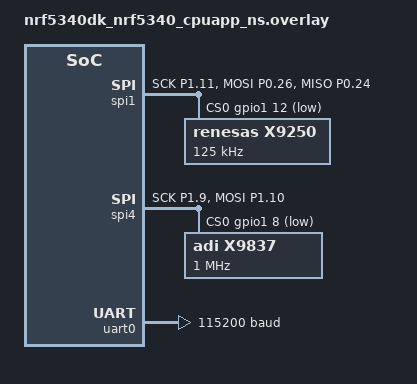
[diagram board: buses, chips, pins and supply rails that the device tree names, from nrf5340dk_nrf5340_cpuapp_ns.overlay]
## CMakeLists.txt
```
# SPDX-License-Identifier: Apache-2.0

cmake_minimum_required(VERSION 3.20.0)
find_package(Zephyr REQUIRED HINTS $ENV{ZEPHYR_BASE})
project(firmware)

# Add all the source files here
target_sources(app PRIVATE 
    src/main.c
    src/adc.c
    src/gpio.c
    src/spi.c
    src/uart.c
    src/signal_chain_amp.c
    src/dds.c
    src/bluetooth.c
    )
```

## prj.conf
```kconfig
# UART1 is used for TF-M logging should be disabled

# UART1 share the same base address as SPIM1, and it's 
# enabled by default in 2.6.0. UART1 is used as the logging 
# backend for TF-M and should be disabled for SPIM1 to work.
CONFIG_TFM_SECURE_UART=n
CONFIG_TFM_LOG_LEVEL_SILENCE=y

# Enable Kconfigs for GPIO, ADC, and SPI.
CONFIG_GPIO=y
CONFIG_ADC=y
CONFIG_SPI=y

# Additional configs
CONFIG_LOG=y

CONFIG_CBPRINTF_FP_SUPPORT=y
CONFIG_RESET_ON_FATAL_ERROR=n

# Enable the serial driver in asynchronous mode
CONFIG_SERIAL=y
CONFIG_UART_ASYNC_API=y

# P0.00 issue: https://devzone.nordicsemi.com/f/nordic-q-a/108953/use-xl1-and-xl2-as-gpio-in-nrf5340
#CONFIG_SOC_ENABLE_LFXO=n

# https://devzone.nordicsemi.com/f/nordic-q-a/101960/enabling-pins-p0-0-p0-1-p0-2-p0-3-and-p0-19-as-gpio-nrf5340
#CONFIG_CLOCK_CONTROL_NRF_K32SRC_RC=y
#CONFIG_CLOCK_CONTROL_NRF_K32SRC_XTAL=n

CONFIG_NFCT_PINS_AS_GPIOS=y

# Enable BLE
CONFIG_BT=y
CONFIG_BT_PERIPHERAL=y
CONFIG_BT_DEVICE_NAME="MY BLE Device"
CONFIG_BT_DEVICE_APPEARANCE=0
CONFIG_FLASH=y
```

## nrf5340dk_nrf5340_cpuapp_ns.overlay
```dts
/* STEP 2.1 - Add the SPI peripheral to spi1 */
&i2c0 {	status = "disabled";};
&spi0 {	status = "disabled";};
&i2c1 {	status = "disabled";};
	
&spi1 {
    compatible = "nordic,nrf-spim";
	status = "okay";
	pinctrl-0 = <&spi1_default>;
	pinctrl-1 = <&spi1_sleep>;
	pinctrl-names = "default", "sleep";
	cs-gpios = <&gpio1 12 GPIO_ACTIVE_LOW>;
	x9250: x9250@0 {
		compatible = "renesas,x9250";
		reg = <0>;
		spi-max-frequency = <125000>;
	};
};

/* STEP 2.2 - Change the pin configuration */
&pinctrl {
	spi1_default: spi1_default {
		group1 {
				psels = <NRF_PSEL(SPIM_SCK, 1, 11)>,
						<NRF_PSEL(SPIM_MOSI, 0, 26)>,
						<NRF_PSEL(SPIM_MISO, 0, 24)>;
		};
	};

	spi1_sleep: spi1_sleep {
		group1 {
				psels = <NRF_PSEL(SPIM_SCK, 1, 11)>,
				<NRF_PSEL(SPIM_MOSI, 0, 26)>,
				<NRF_PSEL(SPIM_MISO, 0, 24)>;
				low-power-enable;
		};
	};
};




&spi4 {
    compatible = "nordic,nrf-spim";
    status = "okay";
    pinctrl-0 = <&spi4_default>;
    pinctrl-1 = <&spi4_sleep>;
    pinctrl-names = "default", "sleep";
    cs-gpios = <&gpio1 8 GPIO_ACTIVE_LOW>;
 
    x9837: x9837@0 {
        compatible = "adi,x9837";
        reg = <0>;
        spi-max-frequency = <1000000  >; // 1 MHz
    };
};


// Change pin configuration, reroute SCLK, MOSI, MISO to certain pins
&pinctrl {
    spi4_default: spi4_default {
        group1 {
            psels = <NRF_PSEL(SPIM_SCK, 1, 9)>,                  
                    <NRF_PSEL(SPIM_MOSI, 1, 10)>;
                    // <NRF_PSEL(SPIM_MISO, 0, 26)>;
        };
    };
    spi4_sleep: spi4_sleep {
        group1 {
            psels = <NRF_PSEL(SPIM_SCK, 1, 9)>,
                    <NRF_PSEL(SPIM_MOSI, 1, 10)>;
                    // <NRF_PSEL(SPIM_MISO, 0, 26)>;
            low-power-enable;
        };
    };
};


&uart0 {
    current-speed = <115200>;
};
```

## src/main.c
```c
/*
 * NAME: Dimitri Avila
 * EMAIL: davila@hmc.edu
 * DATE: February 25th, 2025
 * PURPOSE: This file This file contains the main function for the EPG project, serving as 
 * 		    the central entry point for the firmware. It orchestrates all sensor 
 * 		    interactions and coordinates the operation of various components. 
 * 		    The goal is to integrate all essential functionalities (ADC, SPI 
 * 		    communication, and GPIO control) into a single firmware package that 
 * 		    can be flashed onto the nRF5340-DK board.
 */

#include <stdio.h>
#include <zephyr/kernel.h>
#include <zephyr/drivers/gpio.h>
#include <zephyr/drivers/adc.h>
#include <zephyr/drivers/uart.h>
#include <zephyr/logging/log.h>
LOG_MODULE_REGISTER(main, LOG_LEVEL_INF);


#include "../include/adc.h"
#include "../include/gpio.h"
#include "../include/spi.h"
#include "../include/uart.h"
#include "../include/dds.h"
#include "../include/bluetooth.h"

#define SLEEP_TIME_MS       50
#define SAMPLE_PERIOD_MS    10  // Should be 17ms for 60Hz sampling rate
#define STACKSIZE           1024
#define ADC_THREAD_PRIORITY 7
#define UART_THREAD_PRIORITY 7
#define RECEIVE_TIMEOUT     100


#define UART_DEVICE_NODE DT_NODELABEL(uart0)
const struct device *uart_dev = DEVICE_DT_GET(UART_DEVICE_NODE);

// Define thread stacks
K_THREAD_STACK_DEFINE(adc_stack, STACKSIZE);
K_THREAD_STACK_DEFINE(uart_stack, STACKSIZE);

// Define thread control blocks
struct k_thread adc_thread_data;
struct k_thread uart_thread_data;

// Buffer for UART reception
static char command_buffer[32];
static int cmd_index = 0;
static volatile bool start_received = false;
static volatile bool on_recieved = false;

// UART callback function
static void uart_cb(const struct device *dev, struct uart_event *evt, void *user_data) {
    switch (evt->type) {
    case UART_RX_RDY:
        char received_char = evt->data.rx.buf[evt->data.rx.offset];

        // Store only valid characters
        if ((received_char >= '0' && received_char <= '9') || received_char == ':' || received_char == '-' ||
            (received_char >= 'A' && received_char <= 'Z') || received_char == '\r' || received_char == '.') {

            command_buffer[cmd_index++] = received_char;

            // If newline (ENTER key) is received, check the command
            if (received_char == '\r') {
                command_buffer[cmd_index - 1] = '\0';  // Null-terminate the string

                if (strcmp(command_buffer, "START") == 0) {
                    LOG_INF("Received START command.\n");
                    start_received = true;
                } else if (strcmp(command_buffer, "ON") == 0) {
                    LOG_INF("Received ON command.\n");
                    on_recieved = true;
                } else {
                    LOG_DBG("Invalid command: %s\n", command_buffer);
                }

                // Reset buffer for next input
                cmd_index = 0;
            }
        } else {
            cmd_index = 0;  // Reset if invalid character received
        }
        break;

    case UART_RX_DISABLED:
        uart_rx_enable(dev, command_buffer, sizeof(command_buffer), RECEIVE_TIMEOUT);
        break;

    default:
        break;
    }
}


// Function to wait for "START" command
void wait_for_start_command(void) {
    LOG_INF("Waiting for START command...\n");

    // Start receiving UART data
    uart_rx_enable(uart_dev, command_buffer, sizeof(command_buffer), RECEIVE_TIMEOUT);

    // Wait until "START" is received
    while (!start_received) {
        start_received = ble_start_received();
        k_msleep(10); // Check every 10 ms
    }
}

// Function to wait for "ON" command
void wait_for_on_command(void) {
    LOG_INF("Waiting for ON command...\n");

    // Start receiving UART data
    uart_rx_enable(uart_dev, command_buffer, sizeof(command_buffer), RECEIVE_TIMEOUT);

    // Wait until "ON" is received
    while (!on_recieved) {
        on_recieved = ble_on_received();
        k_msleep(10); // Check every 10 ms
    }
}

// Function to initialize the system with default settings
void config_default_settings() {
    LOG_INF("Default");
    set_dds_offset(-0.341);      // Set DDS offset for zero-centered AC
    set_dds_amplification(-1); // Set DDS amplification to -1x
    start_dds(1000);           // Initialize the DDS (1kHz sine wave)
    set_signal_chain_amplification(2.0); // Minimum amplification
    set_signal_chain_offset(0.6);        // Default offset for AC verification
}

static char msg_adc[32];

// ADC thread function
void adc_thread(char *msg) {
    // initialize_dds();
    // adc_init();
    while (1) {
        int adc_value = adc_read_value();
        int timestamp = k_uptime_get();

        char msg[32];
        snprintf(msg, sizeof(msg), "%u,%d\r\n", timestamp, adc_value);

        for (int i = 0; msg[i] != '\0'; i++) {
        //    uart_poll_out(uart_dev, msg[i]);
            msg_adc[i] = msg[i];
        }

        receive_adc(msg_adc);
      

        // // Print ADC value every second (every 60 samples)
        // if (sample_count % interval == 0) {
        //    LOG_INF("Timestamp: %u ms, ADC Value: %d", timestamp, adc_value);
        // }

        k_msleep(SAMPLE_PERIOD_MS);
    }
}

// UART thread function
void uart_thread(void) {
    // k_msleep(4000);
    // spi_init();
    // gpio_init();

    while (1) {
        uart_main();
        k_msleep(SLEEP_TIME_MS);
    }
}

// Main function
int main(void) {
    // Verify that the UART device is ready
      if (!device_is_ready(uart_dev)) {
        LOG_ERR("UART device not ready.\n");
        return 1;
    }

    // Set up UART callback
    uart_callback_set(uart_dev, uart_cb, NULL);

    start_ble();

    // Wait for "ON" command before turning on the system
    wait_for_on_command();

    // Initialize
    adc_init();
    gpio_init();
    spi_init();
    k_msleep(1000); // Small delay for stability
    config_default_settings();
   
    
    // Wait for the START command before proceeding (start data collection)
    wait_for_start_command();

    // Add command to stop ADC thread and one to reset

    // Start the system
    LOG_INF("Starting data collection!\n");

    // Create ADC thread
    k_thread_create(&adc_thread_data, adc_stack, K_THREAD_STACK_SIZEOF(adc_stack),
                    adc_thread, NULL, NULL, NULL,
                    ADC_THREAD_PRIORITY, 0, K_NO_WAIT);

    // Create UART thread
    k_thread_create(&uart_thread_data, uart_stack, K_THREAD_STACK_SIZEOF(uart_stack),
                    uart_thread, NULL, NULL, NULL,
                    UART_THREAD_PRIORITY, 0, K_NO_WAIT);

    while (1) {
        k_msleep(1000);
    }
}
```

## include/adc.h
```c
/*
 * NAME: Dimitri Avila
 * EMAIL: davila@hmc.edu
 * DATE: January 22nd, 2025
 * PURPOSE: Configures and manages ADC functionality for the nRF5340DK.  
 * 
 */

#ifndef ADC_H
#define ADC_H

#include <zephyr/drivers/adc.h>

// ADC configuration macros
#define ADC_RESOLUTION    12    // 12-bit resolution (0-4095 range)
#define ADC_CHANNEL       0     // Channel 0 (may vary depending on the sensor or pin)
#define ADC_PORT          SAADC_CH_PSELN_PSELN_AnalogInput0 // AIN0
#define ADC_REFERENCE     ADC_REF_INTERNAL // Reference voltage (0.6V)
#define ADC_GAIN          ADC_GAIN_1_5  // Gain of 1.5

// Initialize ADC
void adc_init(void);

// Start an ADC read and process the value
int adc_read_value(void);

// Declare a buffer for storing the ADC readings
extern int16_t data_buffer[1];

#endif // ADC_H
```

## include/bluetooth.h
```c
/*
 * NAME: Julia Hansen
 * EMAIL: juhansen@g.hmc.edu
 * DATE: 03/02/25
 * PURPOSE: Configures setup for bluetooth low energy for the nrf5340 dk
*/

#ifndef BLUETOOTH_H
#define BLUETOOTH_H 

#include <stdio.h>
#include <stdint.h> 

// UUID of Custom Service
#define BT_UUID_MY_CUSTOM_SERV_VAL BT_UUID_128_ENCODE(0x445817d2, 0x9e86, 4216, 8054, 0x703dc002ef41)
#define BT_UUID_MY_CUSTOM_SERVICE BT_UUID_DECLARE_128(BT_UUID_MY_CUSTOM_SERV_VAL)

// UUID of ADC Characteristic
#define BT_UUID_MY_ADC_CHRC_VAL BT_UUID_128_ENCODE(0x445817d2, 0x9e86, 4216, 8054, 0x703dc002ef42)
#define BT_UUID_MY_ADC_CHRC BT_UUID_DECLARE_128(BT_UUID_MY_ADC_CHRC_VAL)

// UUID of PY_READ Characteristic
#define BT_UUID_PY_READ_CHRC_VAL BT_UUID_128_ENCODE(0x445817d2, 0x9e86, 4216, 8054, 0x703dc002ef43)
#define BT_UUID_PY_READ_CHRC BT_UUID_DECLARE_128(BT_UUID_PY_READ_CHRC_VAL)


/** 
 * @brief Function to read data from ADC and pass it through to BLE
 * @param conn Bluetooth connection
 * @param attr GATT attribute referring to the read characteristic 
 * @param buf Buffer storing the data being read from the attribute.
 * 			  The client can access the data by reading from this buffer.
 * @param len The length of the buffer
 * @param offset Offset value specifying where to start reading from the buffer if the attribute data is too large
 * @retval The number of bytes read from the buffer 
*/
ssize_t my_read_adc_function(struct bt_conn *conn,
				const struct bt_gatt_attr *attr, void *buf,
				uint16_t len, uint16_t offset);

/** 
 * @brief Function to write data from the UI into a buffer
 * @param conn Bluetooth connection
 * @param attr GATT attribute referring to the write characteristic 
 * @param buf Buffer storing the data being written from the attribute.
 * 			  The client can write the data to this buffer.
 * @param len The length of the buffer
 * @param offset Offset value specifying where to write to the buffer if the attribute data is too large
 * @param flags Additional write flags 
 * @retval The length of the buffer 
*/
ssize_t write_custom_value(struct bt_conn *conn, 
				const struct bt_gatt_attr *attr, const void *buf, 
				uint16_t len, uint16_t offset, uint8_t flags);

/**
 * @brief Debug function to ensure that Python and Nordic can notify each other
 * @param attr GATT attribute referring to the notify characteristic
 * @param value Value representing the notification status between Python and Nordic
 */
static void adc_ccc_cfg_changed(const struct bt_gatt_attr *attr, uint16_t value);

/**
 * @brief Callback function for when BLE is ready
 * @param err Error thrown if BLE is not ready
*/

void bt_ready(int err);

/**
 * @brief Initializing BT and calling bt_ready when BT is 
 * initialized and ready for connection
*/
int init_ble(void);

/**
 *@brief Receives ADC data from ADC thread
 *@param msg_adc Buffer contatining the timestamp, voltage values 
 */
void receive_adc(char *msg_adc);

/**
 * @brief Keeps track of the start variable for the
 * start_received function in main.c
 * @return Boolean value of start
 */
bool ble_start_received(void);

/**
 * @brief Keeps track of the on variable for the
 * on_received function in main.c
 * @return Boolean value of on
 */
bool ble_on_received(void);

/**
 * @brief Starts Bluetooth and sets up advertisement 
 */
int start_ble(void);


#endif //BLUETOOTH_H
```

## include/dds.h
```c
/*
 * NAME: Julia Hansen
 * EMAIL: juhansen@g.hmc.edu
 * DATE: 03/04/25
 * PURPOSE: Configures setup for DDS for the nrf5340 dk
*/

#ifndef DDS_H
#define DDS_H


#include "spi.h"

#define MIN_DDS_AMPLIFICATION -5 // Calculated via G = -(Rh/10kOhm) where Rh = 50kOhm.
#define MAX_DDS_AMPLIFICATION 0 // Calculated via G = -(Rh/10kOhm) where Rh = 50kOhm.

/**
 * @brief Writes a 16-bit value to a DDS register.
 * 
 * Sends a command or data to the DDS (Direct Digital Synthesis) module via SPI.
 * 
 * @param value The 16-bit register value to be written.
 * 
 * @retval int Returns 0 on success, or a negative error code on failure.
 */
int dds_write_reg(uint16_t value);

/**
 * @brief Starts the DDS signal generation.
 * 
 * Configures and starts generating a waveform using the DDS module.
 * 
 * @retval int Returns 0 on success, or a negative error code on failure.
 */
int start_dds(uint16_t frequency);

/**
 * @brief Function to calculate frequency values to pass in to dds_write_reg
 * @param freq Frequency value, ie. 1000 Hz
 * @param result pointer to array where FREQLSB and FREQMSB will be written to 
 */
void frequency(int freq, uint16_t* result);

/**
 * @brief Function to convert binary string to hex
 * @param binaryString pointer to char array containing bits 
 */
uint16_t binaryToHex(const char* binaryString);

/**
 * @brief Converts frequency value in decimal to binary
 * @param value Frequency value in decimal 
 * @param binaryString pointer to a character array to write bits to 
 */
void convertToBinary(uint16_t value, char* binaryString);

/**
 * @brief Turns off DDS, sending a DC signal
 * @retval 1 upon sucess and 0 if not sucessful
 */
int dds_sleep(void);

/**
 * @brief Writes data to the DDS
 * @param inputFreq Frequency value to send to DDS
 */
void changeDDSVal(uint16_t inputFreq);


/**
 * @brief Sets the gain of the signal chain amplification.
 * 
 * Adjusts the gain of the signal chain amplification by configuring each chip
 * to achieve the desired amplification factor.
 *
 * @param desired_amplification The target gain for the signal chain, specified as a double.
 *                              Must be within the range [MIN_DDS_AMPLIFICATION, MAX_DDS_AMPLIFICATION].
 * 
 * @retval void This function does not return a value.
 */
void set_dds_amplification(double desired_amplification);

/**
 * @brief Sets the DC offset of the DDS output signal.
 * 
 * Adjusts the signal offset to shift the waveform's baseline voltage.
 * 
 * @param desired_offset The target offset voltage in volts, within the valid range.
 * 
 * @retval void This function does not return a value.
 */
void set_dds_offset(double desired_offset);


#endif // DDS_H
```

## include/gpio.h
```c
/*
 * NAME: Dimitri Avila
 * EMAIL: davila@hmc.edu
 * DATE: January 22nd, 2025
 * PURPOSE: Configures GPIO pins and provides functions for PGA control. 
 */

#ifndef GPIO_H
#define GPIO_H

#include <zephyr/drivers/gpio.h>    // Zephyr's GPIO API
#include <zephyr/kernel.h>          // Include for k_sleep()
#include <hal/nrf_gpio.h>           // Nordic's low-level GPIO functions

// Define GPIO Pins
#define GPIO_PIN_08 NRF_GPIO_PIN_MAP(1, 15)  // PGA 1's G2 pin
#define GPIO_PIN_07 NRF_GPIO_PIN_MAP(1, 14)  // PGA 1's G1 pin
#define GPIO_PIN_06 NRF_GPIO_PIN_MAP(1, 13)  // PGA 1's G0 pin

#define GPIO_PIN_11 NRF_GPIO_PIN_MAP(1, 3)  // PGA 2's G2 pin
#define GPIO_PIN_10 NRF_GPIO_PIN_MAP(1, 2) // PGA 2's G1 pin
#define GPIO_PIN_09 NRF_GPIO_PIN_MAP(0, 27) // PGA 2's G0 pin

// MUX pins 
#define EN_PIN NRF_GPIO_PIN_MAP(1, 4)      // Mux enable pin
#define MUXA_PIN NRF_GPIO_PIN_MAP(1, 5)    // MUXA pin
#define MUXB_PIN NRF_GPIO_PIN_MAP(1, 6)     // MUXB pin
#define MUXC_PIN NRF_GPIO_PIN_MAP(1, 7)     // MUXC pin


#define GPIO_PIN_15 NRF_GPIO_PIN_MAP(0, 6) // P_EN pin
#define GPIO_PIN_14 NRF_GPIO_PIN_MAP(0, 5) // N_EN pin

#define GPIO_P1_00 NRF_GPIO_PIN_MAP(0, 13) // WP SPI pin
#define GPIO_P1_04 NRF_GPIO_PIN_MAP(0, 29) // HOLD SPI pin





// Function declarations
void gpio_init(void);  // Initialize GPIO pins
int configure_pga(int pga_number, int pga_setting); // Configure the PGA with the given gain setting
void set_mux(uint8_t mux_setting); // Set the MUX to the specified setting
void power_up(void); // Power up the positive and negative power supplies
void power_down(void); // Power down the positive and negative power supplies

#endif // GPIO_H
```

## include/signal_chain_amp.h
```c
/*
 * NAME: Dimitri Avila
 * EMAIL: davila@hmc.edu
 * DATE: February 22nd, 2025
 * PURPOSE: This file contains the functions for setting the gain of the
 *          op-amp (variable amp) and setting the gain of the PGAs.
 */

#ifndef SIGNAL_CHAIN_AMP_H
#define SIGNAL_CHAIN_AMP_H

#include <zephyr/drivers/spi.h>       // Zephyr's SPI API
#include <zephyr/drivers/gpio.h>      // Zephyr's GPIO API
#include <zephyr/logging/log.h>       // Zephyr's logging API

#define MAX_AMPLIFICATION 7000 // Maximum amplification factor for the signal chain
#define MIN_AMPLIFICATION 2   // Minimum amplification factor for the signal chain (since 2x minimum headstage for stability)


/**
 * @brief Sets the gain of the signal chain amplification.
 * 
 * Adjusts the gain of the signal chain amplification by configuring each chip
 * to achieve the desired amplification factor.
 *
 * @param desired_amplification The target gain for the signal chain, specified as a double.
 *                              Must be within the range [MIN_AMPLIFICATION, MAX_AMPLIFICATION].
 * 
 * @retval void This function does not return a value.
 */
void set_signal_chain_amplification(double desired_amplification);


/**
 * @brief Sets the offset of the signal chain signal.
 * 
 * Adjusts the offset of the signal chain to the specified value. This is done
 * by adjusting digipot channel 2's wiper connected to the U6B OFFSET_AMP in the signal chain.
 *
 * @param desired_offset The target offset for the signal chain signal, specified as a double.
 * 
 * @retval void This function does not return a value.
 */
void set_signal_chain_offset(double desired_offset);


#endif // SIGNAL_CHAIN_AMP_H
```

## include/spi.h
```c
/*
 * NAME: Dimitri Avila
 * EMAIL: davila@hmc.edu
 * DATE: January 31st, 2025
 * PURPOSE: Configures SPI and CS GPIO, handles SPI communication,  
 *          and provides functions for digipot voltage control.  
 */

#ifndef SPI_H
#define SPI_H

#include <zephyr/drivers/spi.h>       // Zephyr's SPI API
#include <zephyr/drivers/gpio.h>      // Zephyr's GPIO API
#include <zephyr/logging/log.h>       // Zephyr's logging API

// SPI CS GPIO pin configuration
#define GPIO_0_CS 25  // Pin number for CS GPIO line (can be changed as needed)
extern const struct gpio_dt_spec cs_gpio;  // Define the CS GPIO spec

#define DIGIPOT_MAX_STEPS 256         // Assuming 8-bit resolution (256 steps)

// SPI configuration structure
extern const struct spi_config spi_cfg;

// Function declarations
int spi_init(void);  // SPI initialization
int spi_write_custom(uint8_t *tx_data, size_t data_len);  // SPI write
int digipot_voltage_set(uint8_t digipot_number, double desired_output_voltage);  // Set digipot voltage
int digipot_wiper_set(uint8_t digipot_channel, uint8_t wiper_position);  // Set digipot wiper position
int set_opamp_gain (double desired_opamp_gain);  // Set opamp gain (digipot channel 1)

#endif // SPI_H
```

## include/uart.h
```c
/*
 * NAME: Dimitri Avila
 * EMAIL: davila@hmc.edu
 * DATE: February 5th, 2025
 * PURPOSE: Configures UART for communication with the EPG device. 
 */

 #ifndef UART_H
 #define UART_H
 
 #include <zephyr/drivers/uart.h>    // Zephyr's UART API
 
 int uart_main(void);               // Main function for UART configuration
 
 // UART device name
 
 #endif
```

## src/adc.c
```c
/*
 * NAME: Dimitri Avila
 * EMAIL: davila@hmc.edu
 * DATE: January 22nd, 2025
 * PURPOSE: This file enables ADC reading from the AIN0 pin on the
 *			nRF5340dk board. 
 */

#include <stdio.h>
#include <zephyr/kernel.h>
#include <zephyr/drivers/gpio.h>
#include <zephyr/drivers/adc.h>
#include "../include/adc.h"  // Include the ADC header file

//#define SLEEP_TIME_MS   1000 // 1 second delay between ADC reads. 

/* The devicetree node identifier for the "adc" label defined within the device tree */
#define ADC_NODE DT_NODELABEL(adc)

static const struct device *adc_device = DEVICE_DT_GET(ADC_NODE);

struct adc_channel_cfg channel0_cfg = {
    .gain = ADC_GAIN,
    .reference = ADC_REFERENCE,
    .acquisition_time = ADC_ACQ_TIME_DEFAULT,
    .channel_id = ADC_CHANNEL,
#ifdef CONFIG_ADC_NRFX_SAADC
    .input_positive = ADC_PORT
#endif
};

int16_t data_buffer[1];

struct adc_sequence sequence = {
    .channels = BIT(ADC_CHANNEL),
    .buffer = data_buffer,
    .buffer_size = sizeof(data_buffer),
    .resolution = ADC_RESOLUTION
};

// ADC initialization function
void adc_init(void)
{
    int err;

    if (!device_is_ready(adc_device)) {
        printk("ADC device not ready\n");
        return;
    }
    
    err = adc_channel_setup(adc_device, &channel0_cfg);
    if (err != 0) {
        printk("ADC channel setup failed with error %d.\n", err);
    }
}

// ADC read function (returns ADC value in millivolts)
int adc_read_value(void)
{
    int err;
    int32_t mv_value = 0;

    err = adc_read(adc_device, &sequence);
    if (err != 0) {
        printk("ADC reading failed with error %d.\n", err);
        return err;
    }

    mv_value = data_buffer[0];
    int32_t adc_vref = adc_ref_internal(adc_device);
    adc_raw_to_millivolts(adc_vref, ADC_GAIN, ADC_RESOLUTION, &mv_value);
    
	// Print ADC Voltage
    //printk("ADC Voltage: %d mV\n", mv_value);
    return mv_value;
}
```

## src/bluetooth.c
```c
/*
 * NAME: Julia Hansen
 * EMAIL: juhansen@g.hmc.edu
 * DATE: 03/04/25
 * PURPOSE: This file allows Bluetooth to be run on the nrf5340 dk
*/

#include <zephyr/bluetooth/bluetooth.h>
#include <zephyr/bluetooth/conn.h>
#include <zephyr/bluetooth/uuid.h>
#include <zephyr/bluetooth/gatt.h>
#include <zephyr/kernel.h>
#include <zephyr/drivers/adc.h>
#include <zephyr/logging/log.h>
#include <string.h>
#include <stdlib.h> 
#include <math.h>

#include "../include/bluetooth.h"
#include "../include/dds.h"
#include "../include/gpio.h"

#define RECEIVE_BUFF_SIZE 20
#define BT_LE_ADV_CONN_CUSTOM BT_LE_ADV_PARAM(BT_LE_ADV_OPT_CONNECTABLE, 0x0020, 0x0020, NULL )

LOG_MODULE_REGISTER(ble_test); 

volatile bool ble_ready =false; // Flag indicating status of BLE
static char msg[32];

// Define the receive buffer
static uint8_t write_buffer[RECEIVE_BUFF_SIZE] = {0};

// Workqueue Things
static int digipot_channel = 0;
static int digipot_setting = 0;

static int pga_number = 0;
static int pga_setting = 0;

static volatile bool start_received = false;
static volatile bool on_received = false;

/*
 It is possible to adjust the connection settings on the BLE by editing 
 the BT_GAP_INIT_CONN_INT_MIN and BT_GAP_INIT_CONN_INT_MAX params in the
 gap.h file in the conn.h file. Note that the units are in 1.25ms so the
 actual value will be N*1.25ms.  
 You can also adjust the data length which is the number of bytes sent in 
 one packet by adjusting BT_GAP_ADV_MAX_ADV_DATA_LEN in gap.h. 
*/

// Advertisement data 
static const struct bt_data ad[] = {
	BT_DATA_BYTES(BT_DATA_FLAGS, (BT_LE_AD_GENERAL | BT_LE_AD_NO_BREDR)), // Using BLE
	BT_DATA_BYTES(BT_DATA_UUID128_ALL, BT_UUID_MY_CUSTOM_SERV_VAL), //Custom service 
};


// Write callback function
// Return value in buffer and decode it 
ssize_t write_custom_value(struct bt_conn *conn, 
				const struct bt_gatt_attr *attr, const void *buf, 
				uint16_t len, uint16_t offset, uint8_t flags) { 
					memcpy(write_buffer, buf, len); 
					printk("Received data from Python: %s\n", write_buffer); 
					write_buffer[len] = '\0';  
					// FREQUENCY SETTING
					if (write_buffer[0] == 'S' && write_buffer[1] == 'D' && write_buffer[2] == 'D' && write_buffer[3] == 'S' && write_buffer[4] == ':') {
						uint16_t val = atoi(&write_buffer[5]);  
						//printk("Received value: %f\n", val);  
						changeDDSVal(val);
						return len;
					// DDS GAIN SETTING
					} else if (write_buffer[0] == 'D' && write_buffer[1] == 'D' && write_buffer[2] == 'S' && write_buffer[3] == 'A' && write_buffer[4] == ':') {
						double amplification = atof(&write_buffer[5]);  // Convert string to double
						printk("amp: %.6f\n", amplification);
						if (amplification >= MIN_DDS_AMPLIFICATION && amplification <= MAX_DDS_AMPLIFICATION) {
							printk("Setting DDS amplification to %.2fx\n", amplification);
							set_dds_amplification(amplification);
						} else {
							printk("Invalid DDS amplification command!\n");
						}
						return len;
					// DDS OFFSET SETTING
					} else if (write_buffer[0] == 'D' && write_buffer[1] == 'D' && write_buffer[2] == 'S' && write_buffer[3] == 'O' && write_buffer[4] == ':'){
						double offset = atof(&write_buffer[5]);
						printk("offset: %.6f\n", offset);

						if (offset >= -3.3 && offset <= 3.3) {
							printk("Setting DDS offset to %.2fV\n", offset);
							set_dds_offset(offset);
						} else {
							printk("Invalid DDS offset command!\n");
						}
						return len;
					// PGA SETTING
					} else if (write_buffer[0] == 'P' && write_buffer[2] == ':') {  
						uint16_t number = write_buffer[1] - '0'; // Convert char to int
						uint16_t setting = atoi(&write_buffer[3]);  // Convert string to int

						if (number >= 1 && number <= 2 && setting >= 0 && setting <= 7) {
							pga_number = number;
							pga_setting = setting;

							printk("Setting PGA %d to value %d\n", pga_number, pga_setting);
							configure_pga(pga_number, pga_setting);
						} else {
							printk("Invalid pga command!\n");
						}
						return len;
					// DIGIPOT SETTING
					} else if(write_buffer[0] == 'D' && write_buffer[2] == ':') {
						int channel = write_buffer[1] - '0'; // Convert char to int
						int value = atoi(&write_buffer[3]);  // Convert string to int
				
						if (channel >= 0 && channel <= 3 && value >= 0 && value <= 255) {
							digipot_channel = channel;
							digipot_setting = value;
				
							printk("Setting Digipot %d to value %d\n", digipot_channel, digipot_setting);
							digipot_wiper_set(digipot_channel, digipot_setting);
						} else {
							printk("Invalid digipot command!\n");
						}
						return len;
					// MUX Setting
					} else if (write_buffer[0] == 'M' && write_buffer[1] == ':' && write_buffer[2] >= '0' && write_buffer[2] <= '7') {
						int setting = write_buffer[2] - '0'; // Convert char to int
				
						if (setting >= 0 && setting <= 7) {
							printk("Setting Mux to setting %d\n", setting);
							set_mux(setting);
						} else {
							printk("Invalid mux command!\n");
						}
						return len;
					// SIGNAL CHAIN OFFSET Setting
					} else if (write_buffer[0] == 'S' && write_buffer[1] == 'C' && write_buffer[2] == 'O' && write_buffer[3] == ':') {
						double offset = atof(&write_buffer[4]);  // Convert string to double
				
						if (offset >= -3.3 && offset <= 3.3) {
							printk("Setting signal chain offset to %.2fV\n", offset);
							set_signal_chain_offset(offset);
						} else {
							printk("Invalid signal chain offset command!\n");
						}
						return len;
					// SIGNAL CHAIN AMPLIFICATION Setting
					} else if (write_buffer[0] == 'S' && write_buffer[1] == 'C' && write_buffer[2] == 'A' && write_buffer[3] == ':') {
						double gain = atof(&write_buffer[4]);  // Convert string to double
				
						if (gain >= 1.0 && gain <= 7000.0) {
							printk("Setting signal chain amplification to %.2fx\n", gain);
							set_signal_chain_amplification(gain);
						} else {
							printk("Invalid signal chain amplification command!\n");
						}
						return len;
					// IDDS Setting
					} else if (write_buffer[0] == 'I' && write_buffer[1] == 'D' && write_buffer[2] == 'D' && write_buffer[3] == 'S') {
						printk("Starting DDS output\n");
						start_dds(1000);  // Start DDS with 1kHz sine wave
						return len;
					// DDSOFF Setting
					} else if (write_buffer[0] == 'D' && write_buffer[1] == 'D' && write_buffer[2] == 'S' && write_buffer[3] == 'O' && write_buffer[4] == 'F' && write_buffer[5] == 'F') {
						LOG_INF("Stopping DDS output\n");
						dds_sleep();  // Stop DDS output
						return len;
					// ON Setting
					} else if (write_buffer[0] == 'O' && write_buffer[1] == 'N') {
						on_received = true;
						LOG_INF("Powering up the system...");
						power_up();
						LOG_INF("Power up complete!");
						return len;
					// START Setting
					} else if (write_buffer[0] == 'S' && write_buffer[1] == 'T' && write_buffer[2] == 'A' && write_buffer[3] == 'R' && write_buffer[4] == 'T'){
						start_received = true;
						//printk("start:", start_received);
						return len;
					// OFF Setting
					} else if (write_buffer[0] == 'O' && write_buffer[1] == 'F' && write_buffer[2] == 'F') {
						LOG_INF("Powering down the system...\n");
						power_down();
						return len;
					}
				}

// Define Custom Service
BT_GATT_SERVICE_DEFINE(custom_srv,
		BT_GATT_PRIMARY_SERVICE(BT_UUID_MY_CUSTOM_SERVICE),
		// Notify Python whenever new adc data is available to send with notification param
		BT_GATT_CHARACTERISTIC(BT_UUID_MY_ADC_CHRC, BT_GATT_CHRC_NOTIFY, BT_GATT_PERM_NONE, NULL , NULL, NULL),
		BT_GATT_CCC(adc_ccc_cfg_changed, BT_GATT_PERM_READ | BT_GATT_PERM_WRITE), // responsible for sending notifications, contains the value
		// Setting write characteristic to write data from client to the characteristic
		BT_GATT_CHARACTERISTIC(BT_UUID_PY_READ_CHRC, BT_GATT_CHRC_WRITE, BT_GATT_PERM_WRITE, NULL, write_custom_value, write_buffer),
);

static bool notify_enabled = false;

// Debug function to ensure we can notify Python
static void adc_ccc_cfg_changed(const struct bt_gatt_attr *attr, uint16_t value)
{
    notify_enabled = (value == BT_GATT_CCC_NOTIFY);
    printk("Notify enabled: %s\n", notify_enabled ? "true" : "false");
}

// Callback function for when BT is ready
void bt_ready(int err){
	if (err) {
		LOG_ERR("bt enable return %d", err);
	}
	LOG_INF("bt_ready!");
	ble_ready=true;
}

// Initializing BT and calling bt_ready when BT is 
// initialized and ready for connection
int init_ble(void) {
	LOG_INF("Init BLE");
	int err;
	err = bt_enable(bt_ready);
	if (err) {
		LOG_ERR("bt_enable failed (err %d)", err);
		return err; 
	}

	return 0;
}

// Receive ADC message from ADC thread and notify Python
void receive_adc(char *msg_adc){
	for (int i = 0; msg_adc[i] != '\0'; i++) {
		msg_adc[i] = msg_adc[i];
	}
	if (notify_enabled) {
		int ret = bt_gatt_notify(NULL, &custom_srv.attrs[1], msg_adc, strlen(msg_adc));
		if (ret < 0) {
			LOG_ERR("Notify failed: %d\n", ret);
		}
	}
}

// Keep track of start variable
bool ble_start_received(void){
	return start_received;
}

// Keep track of on variable
bool ble_on_received(void) {
	return on_received;
}

// Start up BLE
int start_ble(void) {
	init_ble();
	while(!ble_ready){
		LOG_INF("BLE stack not ready yet");
		k_msleep(100);
	}
	LOG_INF("BLE stack ready!");

	int err;
	// Start advertising 
	err = bt_le_adv_start(BT_LE_ADV_CONN_CUSTOM, ad, ARRAY_SIZE(ad), NULL, 0); // Only need one advertisement package
	if (err) {
		printk("Advertising failed to start (err %d)\n", err);
		return 0;
	}

	return 0;

}
```

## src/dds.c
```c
/*
 * NAME: Julia Hansen
 * EMAIL: juhansen@g.hmc.edu
 * DATE: 03/04/25
 * PURPOSE: This file allows the DDS to be initialized and set to different
 *          output frequencies. 
*/

// Our headerfile
#include "../include/dds.h"


#include <zephyr/kernel.h>
#include <zephyr/logging/log.h>


// Include header file for SPI API, GPIO and device tree
#include <zephyr/drivers/spi.h>
#include <zephyr/device.h>
#include <zephyr/devicetree.h>
#include <zephyr/drivers/gpio.h>


#include <stdio.h>
#include <stdlib.h>
#include <math.h>


// For defining GPIO pins
#include <hal/nrf_gpio.h>


// Define GPIO Pin for FSYNC
#define FSYNC   NRF_GPIO_PIN_MAP(1, 8)


LOG_MODULE_REGISTER(DDS, LOG_LEVEL_INF);


uint16_t CTRL = 0x2000; //          0010 0000 0000 0000
uint16_t FREQ1_CTRL_EN = 0x2800;//  0010 0100 0000 0000
uint16_t FREQ0_LSB = 0x60C5;  //    0110 0000 1100 0101
uint16_t FREQ0_MSB = 0x4000;  //    0100 0000 0000 0000
uint16_t PHASE0 = 0xC000;     //    0110 0000 0000 0000


// Get device structure for DDS node
#define SPIOP   SPI_WORD_SET(8) | SPI_TRANSFER_MSB | SPI_MODE_CPOL // SPI word size is 8 bits, MSB should be transferred first, and clock has polarity of 1
struct spi_dt_spec spispec = SPI_DT_SPEC_GET(DT_NODELABEL(x9837), SPIOP, 0);

// Function to write data to register
int dds_write_reg(uint16_t value)
{
    int err;

    /* Declare a tx buffer having 16 bit data */
    // Split 16-bit value into two 8-bit parts
    uint8_t tx_buf[2];
    tx_buf[0] = (value >> 8) & 0xFF; // MSB
    tx_buf[1] = value & 0xFF;        // LSB
    //uint16_t tx_buf[] = {reg, value};
    struct spi_buf      tx_spi_buf      = {.buf = tx_buf, .len = sizeof(tx_buf)};
    struct spi_buf_set  tx_spi_buf_set  = {.buffers = &tx_spi_buf, .count = 1};


    /* Call the spi_write_dt function with SPISPEC to write buffers */
    err = spi_write_dt(&spispec, &tx_spi_buf_set);
    if (err < 0) {
        LOG_ERR("spi_write_dt() failed, err %d", err);
        return err;
    }

    return 0;
}

// Function to convert uint16_t to binary string
void convertToBinary(uint16_t value, char* binaryString) {
    for (int i = 15; i >= 0; i--) {
        binaryString[15 - i] = (value & (1 << i)) ? '1' : '0';

    }
    binaryString[16] = '\0'; // Null-terminate the string
}


// Function to convert binary string to hex
uint16_t binaryToHex(const char* binaryString) {
    return (uint16_t)strtol(binaryString, NULL, 2);
}


// Function to calculate frequency values
void frequency(int freq, uint16_t* result) {
    // Calculate the output frequency
    uint16_t freqOut = (uint16_t)((freq * pow(2, 28)) / 16000000);
    char binaryString[17];
    convertToBinary(freqOut, binaryString);
    // 1000 Hz = 0000011010001101
    // 1 Hz = 0000000000010001

    // Prepare binary substrings
    char FREQ0_LSB_String[17] = "01";             // FREQ0 register designation
    strncat(FREQ0_LSB_String, binaryString + 2, 14);  // 14 more bits to make it 16 bits in total
    char FREQ0_MSB_String[17] = "0100000000000000";  // Assume desired frequency is small enough to have an empty MSB

    // Convert binary substrings to hex
    uint16_t FREQ0_LSB = binaryToHex(FREQ0_LSB_String);
    uint16_t FREQ0_MSB = binaryToHex(FREQ0_MSB_String);
   
    // Store results in the provided array
    result[0] = FREQ0_LSB;
    result[1] = FREQ0_MSB;
   
    // Print the results
    printk("FREQ0_LSB: 0x%X\n", FREQ0_LSB);
    printk("FREQ0_MSB: 0x%X\n", FREQ0_MSB);
}

void changeDDSVal(uint16_t inputFreq) {
    // Configure FSYNC pin
    nrf_gpio_pin_set(FSYNC); // Set FSYNC high initially

    uint16_t newfreq[2];

    frequency(inputFreq, newfreq);

    // Prepare to load LSB and MSB
    dds_write_reg(0x2000); // Set DB13 to 1, DB12 to 0, and reset to 0

    // Write 14 LSBs to FREQ0 bits 0-13
    dds_write_reg(newfreq[0]);
    
    // Write 14 MSBs to FREQ0 to bits 14-28
    dds_write_reg(newfreq[1]);
    LOG_INF("SPI is initialized!");
}

// Function to set the frequency of the DDS
int start_dds(uint16_t inputFreq) {
    uint16_t freq[2];

    frequency(inputFreq, freq);

    // Configure FSYNC pin
	nrf_gpio_cfg_output(FSYNC);
	nrf_gpio_pin_set(FSYNC); // Set FSYNC high initially

		// Check to see if SPI is ready
        int err;
        err = spi_is_ready_dt(&spispec);
        if (!err) {
                LOG_ERR("Error: SPI device is not ready, err: %d", err);
                return 0;
        }

		LOG_INF("SPI is initialized!");

		// Set DB13 to 1, DB12 to 0, and reset to 1
		dds_write_reg(0x2100);  

		// Write 14 LSBs to FREQ0 bits 0-13
		dds_write_reg(freq[0]);
		
		// Write 14 MSBs to FREQ0 to bits 14-28
		dds_write_reg(freq[1]);

		// Write PHASE0
		dds_write_reg(PHASE0);
		
		// Output sine wave, set reset to 0
		dds_write_reg(CTRL);

		return 0;
}



// Function to sleep dds
int dds_sleep(void) {

    // Configure FSYNC pin
    nrf_gpio_cfg_output(FSYNC);
    nrf_gpio_pin_set(FSYNC); // Set FSYNC high initially


    // Check to see if SPI is ready
    int err;
    err = spi_is_ready_dt(&spispec);
    if (!err) {
            LOG_ERR("Error: SPI device is not ready, err: %d", err);
            return 0;
    }

    LOG_INF("SPI is initialized!");


    // Set Control Register (SLEEP)
    dds_write_reg(0x00C0); // 0000 0000 1100 0000
    // dds_write_reg(0x00B0); // 0b0000 0000 1000 0000

    return 1; // Success
}


// Set the amplification
void set_dds_amplification(double desired_amplification) {
    // Ensure the input is within the valid range
    if (desired_amplification < MIN_DDS_AMPLIFICATION || desired_amplification > MAX_DDS_AMPLIFICATION) {
        printk("Error: Voltage input must be between %.2dV and %.2dV\n", MIN_DDS_AMPLIFICATION, MAX_DDS_AMPLIFICATION);
        return;  // Invalid input range
    }

    // Calculate the wiper position
    //int wiper_position = (((2958 * desired_amplification)/125) + 255); // 4.64 K resistor
    int wiper_position = (51 * (desired_amplification + 5)); // 10 K resistor
    
    // Ensure the wiper position is within bounds (0-255)
    if (wiper_position < 0) wiper_position = 0;
    if (wiper_position > 255) wiper_position = 255;

    digipot_wiper_set(0, wiper_position);  // Set the wiper position of digipot channel 0
}



// TODO: set the offset for AC voltage only! (just zero centering the signal). Offset can be variable for DC.
void set_dds_offset(double desired_offset) {
    // Define the voltage range
    double VL = -3.3;  // Low voltage
    double VH = 3.3;   // High voltage

    // Ensure the input is within the valid range
    if (desired_offset < VL || desired_offset > VH) {
        printk("Error: Voltage input must be between %.2fV and %.2fV\n", VL, VH);
        return;  // Invalid input range
    }

    double zero_center_offset = -0.341;  // Offset for zero-centering the signal

    // Calculate the normalized wiper position
    int wiper_position = (int)(((((desired_offset) / VH) + 1) / 2) * 255);

    // int wiper_position = (int)((((VH - desired_offset) / (VH - VL)) * 255));

    // Ensure the wiper position is within bounds (0-255)
    if (wiper_position < 0) wiper_position = 0;
    if (wiper_position > 255) wiper_position = 255;

    digipot_wiper_set(3, wiper_position);  // Set the wiper position of digipot channel 3
}
```

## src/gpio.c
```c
/*
 * NAME: Dimitri Avila
 * EMAIL: davila@hmc.edu
 * DATE: January 22nd, 2025
 * PURPOSE: This file enables writing to GPIO pins for controlling the PGA chip.
 */

#include "../include/gpio.h"  // Include the GPIO header file

// Function to configure GPIO pins as output
void gpio_init(void) {
    // Configure GPIO pins to output
    nrf_gpio_cfg_output(GPIO_PIN_08);  // PGA 1's G2 pin
    nrf_gpio_cfg_output(GPIO_PIN_07);  // PGA 1's G1 pin
    nrf_gpio_cfg_output(GPIO_PIN_06);  // PGA 1's G0 pin

    nrf_gpio_cfg_output(GPIO_PIN_09);  // PGA 2's G2 pin
    nrf_gpio_cfg_output(GPIO_PIN_10);  // PGA 2's G1 pin
    nrf_gpio_cfg_output(GPIO_PIN_11);  // PGA 2's G0 pin

    // Enable pins for the positive and negative power supplies
    nrf_gpio_cfg_output(GPIO_PIN_15);  // P_EN pin
    nrf_gpio_cfg_output(GPIO_PIN_14);  // N_EN pin

    // SPI pins
    nrf_gpio_cfg_output(GPIO_P1_00);  // WP SPI pin
    nrf_gpio_cfg_output(GPIO_P1_04);  // HOLD SPI pin

    // MUX GPIO Pins
    nrf_gpio_cfg_output(MUXA_PIN);  // MUXA pin
    nrf_gpio_cfg_output(MUXB_PIN);  // MUXB pin
    nrf_gpio_cfg_output(MUXC_PIN);  // MUXC pin
    nrf_gpio_cfg_output(EN_PIN);    // EN pin
}


// This function will define how the PGA operates (configurable with 8 settings)
int configure_pga(int pga_number, int pga_setting) {
    // Make sure we inputted a valid gain setting (0-7)
    if (pga_setting < 0 || pga_setting > 7) {
        return -1; // Return an error for invalid settings
    }

    // Shift pga_setting down to get bits
    int g2 = (pga_setting >> 2) & 0x01;  // Get the 3rd bit
    int g1 = (pga_setting >> 1) & 0x01;  // Get the 2nd bit
    int g0 = pga_setting & 0x01;         // Get the 1st bit

    // Set GPIO pins based on extracted bits
    if (pga_number == 1) {
        nrf_gpio_pin_write(GPIO_PIN_06, g0);  // Set G0
        nrf_gpio_pin_write(GPIO_PIN_07, g1);  // Set G1
        nrf_gpio_pin_write(GPIO_PIN_08, g2);  // Set G2
    } else if (pga_number == 2) {
        nrf_gpio_pin_write(GPIO_PIN_09, g0);  // Set G0
        nrf_gpio_pin_write(GPIO_PIN_10, g1);  // Set G1
        nrf_gpio_pin_write(GPIO_PIN_11, g2);  // Set G2
    }
    return 0;  // Success
}


void set_mux(uint8_t mux_setting) {
    // Make sure we inputted a valid mux setting (0-7)
    if (mux_setting > 7) {
        return; // Return an error for invalid settings
    }

    // Shift mux_setting down to get bits
    int MUXC = (mux_setting >> 2) & 0x01;  // Get the 3rd bit (msb)
    int MUXB = (mux_setting >> 1) & 0x01;  // Get the 2nd bit
    int MUXA = mux_setting & 0x01;         // Get the 1st bit (lsb)

    // Set GPIO pins based on extracted bits
    printk("MUXA: %d, MUXB: %d, MUXC: %d\n", MUXA, MUXB, MUXC);
    nrf_gpio_pin_write(EN_PIN, 0);  // Enable the MUX
    nrf_gpio_pin_write(MUXA_PIN, MUXA);  // Set MUXA
    nrf_gpio_pin_write(MUXB_PIN, MUXB);  // Set MUXB
    nrf_gpio_pin_write(MUXC_PIN, MUXC);  // Set MUXC
}


void power_up(void) {
    // Power up the positive and negative power supplies
    nrf_gpio_pin_write(GPIO_PIN_15, 1);  // Power up the positive supply
    k_msleep(500);                        // Small delay for stability
    nrf_gpio_pin_write(GPIO_PIN_14, 1);  // Power up the negative supply
    config_default_settings(); 
}


void power_down(void) {
    // Change MUX setting to 10K
    set_mux(0);
    // Enter sleep mode on the DDS
    dds_sleep();
    // Turn off gains and offsets
    set_signal_chain_amplification(2.0); // Set Minimum Signal Chain Amplification
    set_dds_amplification(-1);           // Set DDS amplification to -1x
    set_signal_chain_offset(0);          // Set Signal Chain Offset to 0
    set_dds_offset(0);                   // Set DDS Offset to 0
    
    // Power down the positive and negative power supplies
    nrf_gpio_pin_write(GPIO_PIN_14, 0);  // Power down the negative supply
    k_msleep(500);                       // Small delay for stability
    nrf_gpio_pin_write(GPIO_PIN_15, 0);  // Power down the positive supply
}
```

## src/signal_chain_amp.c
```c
/*
 * NAME: Dimitri Avila
 * EMAIL: davila@hmc.edu
 * DATE: February 21st, 2025
 * PURPOSE: Controls each of the chips involed in the signal chain amplification
 *          process. This file contains the functions for setting the gain of the
 *          op-amp, setting the gain of the PGAs.
 */

#include "../include/spi.h"  // Include the SPI header file
#include "../include/gpio.h" // Include the GPIO header file
#include "../include/signal_chain_amp.h"  // Include the signal chain amplification header file

// Expects gains in the range of 1x to 7000x
void set_signal_chain_amplification(double desired_amplification) {
    // Ensure gain is within valid range
    if (desired_amplification < MIN_AMPLIFICATION || desired_amplification > MAX_AMPLIFICATION) {
        printk("Error: Desired amplification must be between 21x and 7000x\n");
        return;
    }

    double remaining_gain = desired_amplification / 2.0; // Minimum amplification to maintain head amp stability

    // Configure PGA 1 (1x-7x)
    uint8_t pga1_gain;
    if (remaining_gain >= 7.0) pga1_gain = 7;
    else if (remaining_gain >= 6.0) pga1_gain = 6;
    else if (remaining_gain >= 5.0) pga1_gain = 5;
    else if (remaining_gain >= 4.0) pga1_gain = 4;
    else if (remaining_gain >= 3.0) pga1_gain = 3;
    else if (remaining_gain >= 2.0) pga1_gain = 2;
    else pga1_gain = 1;  // Ensures no 0x gain
    uint8_t pga1_setting = pga1_gain; // PGA 1 setting is the same as pga1_gain
    configure_pga(1, pga1_setting);
    remaining_gain /= pga1_gain; // Update remaining gain
    printk("pga1_gain:", pga1_gain);
    // Configure PGA 2 (1x-100x)
    uint8_t pga2_setting;
    uint8_t pga2_gain = 1;
    if (remaining_gain >= 100.0) {
        pga2_gain = 100;
        pga2_setting = 7;
    } else if (remaining_gain >= 50.0) {
        pga2_gain = 50;
        pga2_setting = 6;
    } else if (remaining_gain >= 20.0) {
        pga2_gain = 20;
        pga2_setting = 5;
    } else if (remaining_gain >= 10.0) {
        pga2_gain = 10;
        pga2_setting = 4;
    } else if (remaining_gain >= 5.0) {
        pga2_gain = 5;
        pga2_setting = 3;
    } else if (remaining_gain >= 2.0) {
        pga2_gain = 2;
        pga2_setting = 2;
    } else {
        pga2_gain = 1;
        pga2_setting = 1;
    }
    configure_pga(2, pga2_setting);
    remaining_gain /= pga2_gain; // Update remaining gain
    printk("pga2_gain:", pga2_gain);
    // Set op-amp gain (variable amp)
    printk("Remaining Gain: %.2f\n", remaining_gain);
    set_opamp_gain(remaining_gain*2);
}

/*
 * Digipot channel 2 controls the offset of the signal chain.
 * The offset is set by adjusting the wiper position of digipot channel 2.
 * Vh = 3.3V, Vl = -3.3V. Select a voltage between Vh and Vl to set the offset.
 */
void set_signal_chain_offset(double desired_offset) {
    // Define the voltage range
    double VL = -3.3;  // Low voltage
    double VH = 3.3;   // High voltage

    // Ensure the input is within the valid range
    if (desired_offset < VL || desired_offset > VH) {
        printk("Error: Voltage input must be between %.2fV and %.2fV\n", VL, VH);
        return;  // Invalid input range
    }

    // Calculate the normalized wiper position
    int wiper_position = (int)((((desired_offset / VH) + 1) / 2) * 255);

    // Ensure the wiper position is within bounds (0-255)
    if (wiper_position < 0) wiper_position = 0;
    if (wiper_position > 255) wiper_position = 255;

    digipot_wiper_set(2, wiper_position);  // Set the wiper position of digipot channel 2
}
```
